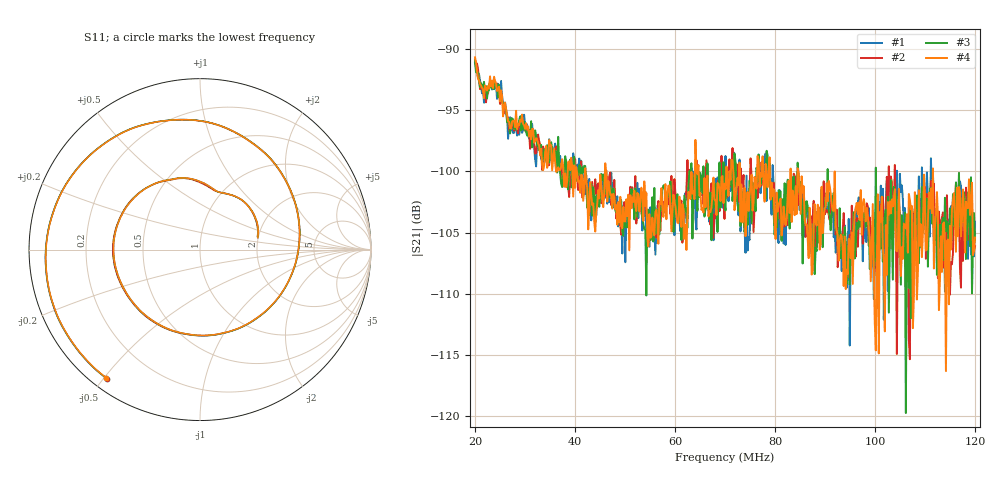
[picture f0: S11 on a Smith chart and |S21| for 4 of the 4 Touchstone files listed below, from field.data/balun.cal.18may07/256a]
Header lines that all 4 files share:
! Anritsu VNA Master:  Model: MS2036C/10/77
! SN:  1601066
! Existing Calibration Information:
! TYPE:  Current Settings,  Active Cal Settings
! # POINTS:  500,  500
! START FREQ:  20.000 MHz,  20.000 MHz
! STOP FREQ:  120.000 MHz,  120.000 MHz
! SOURCE POWER:  High,  High
! IFBW:  50 Hz,  50 Hz
! AVG FACTOR:  1 ,  1
! REF PLANE 1:  0 mm,  0 mm
! REF PLANE 2:  0 mm,  0 mm
! CAL TYPE:  Full S11,  Full S11
! CAL METHOD:  SOLT,  SOLT
! CAL LINE TYPE:  Coax,  Coax
! DUT PORT 1:  K-Conn(F),  K-Conn(F)
! DUT PORT 2:  K-Conn(F),  K-Conn(F)
! CAL STATUS:  OK: Accuracy High,  --
# GHZ S DB R 50.0
! FREQ.GHZ  S11DB  S11A  S21DB  S21A  S12DB  S12A  S22DB  S22A
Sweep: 20 MHz to 120 MHz
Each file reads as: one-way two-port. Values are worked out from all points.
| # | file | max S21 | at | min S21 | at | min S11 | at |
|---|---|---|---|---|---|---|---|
| 1 | a.6a.m6.s2p | -91.10 dB | 20 MHz | -114.2 dB | 94.95 MHz | -9.3 dB | 120 MHz |
| 2 | a.6a.m8.s2p | -90.83 dB | 20 MHz | -115.4 dB | 107 MHz | -9.2 dB | 120 MHz |
| 3 | a.6a.m11.s2p | -90.91 dB | 20 MHz | -119.8 dB | 106.2 MHz | -9.2 dB | 120 MHz |
| 4 | a.6a.m15.s2p | -90.65 dB | 20 MHz | -116.3 dB | 114.2 MHz | -9.2 dB | 120 MHz |
